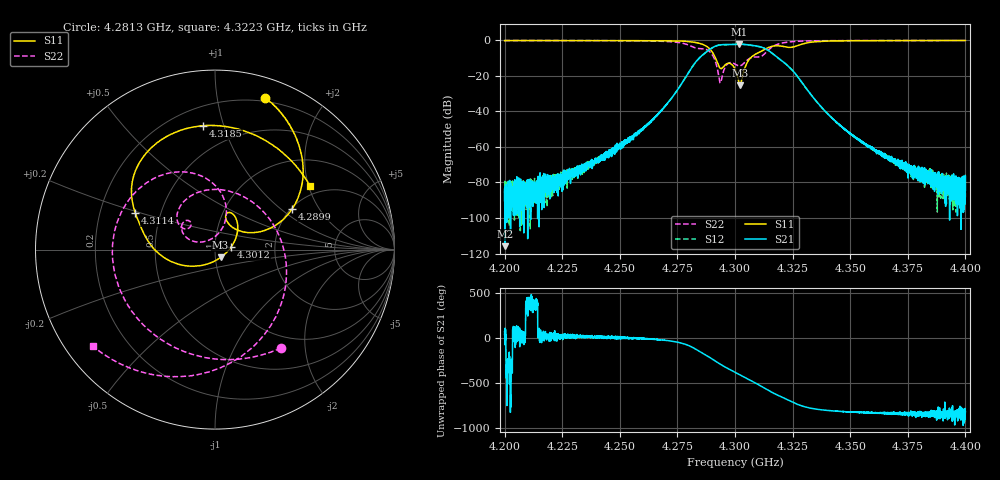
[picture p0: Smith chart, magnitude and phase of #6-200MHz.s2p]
#  HZ  S  DB  R  50.00
! Rohde & Schwarz ZVA67 4Ports - Version 3.30 - 1305.7002k04 SN: 101038
! Date: 2022-07-22 05:34:10
! Measurements: S11 S21 S12 S22
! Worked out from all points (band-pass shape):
!   6246 points, 4.2 GHz to 4.4 GHz, reference 50 ohm
!   highest |S21| = -2.28 dB at 4.3019 GHz (marker M1); lowest = -115.9 dB at 4.2001 GHz (marker M2)
!   |S21| within 3 dB of the highest: 4.289 GHz to 4.3138 GHz (24.78 MHz wide, 0.576 % of centre)
!   lowest |S11| = -25.4 dB at 4.3022 GHz (marker M3), VSWR 1.11, Z = 53 - j4.64 ohm
!   |S11| at or under -10 dB: 4.291521 GHz to 4.306762 GHz (15.24 MHz wide, 0.355 % of centre)
!   |S22| runs from -24.2 to -0.2 dB; largest |S21 - S12| = 0.022
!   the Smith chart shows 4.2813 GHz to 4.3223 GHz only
!   S11 on the Smith chart (normalised r, x): 4.2813 GHz: 0.17, +1.37; 4.2899 GHz: 2.03, +1.22; 4.3012 GHz: 1.19, +0.03; 4.3114 GHz: 0.36, +0.19; 4.3185 GHz: 0.32, +0.86; 4.3223 GHz: 1.71, +2.04
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4.2e9  -0.29 125.5  -90.46 74.2  -86.25 48.0  -0.24 121.6
4.200128e9  -0.28 125.5  -115.86 -71.9  -84.06 -2.7  -0.24 121.5
4.233339e9  -0.30 117.4  -72.58 11.7  -70.64 27.7  -0.28 109.7
4.266677e9  -0.39 98.9  -41.29 -14.9  -41.43 -13.3  -0.61 71.2
4.277278e9  -0.58 83.1  -23.56 -57.1  -23.62 -55.6  -1.77 11.9
4.281313e9  -1.00 71.8  -15.27 -97.4  -15.34 -96.1  -3.62 -56.1
4.285412e9  -2.16 55.3  -8.94 -158.0  -9.02 -156.5  -4.84 -168.6
4.289896e9  -6.23 27.9  -4.51 133.3  -4.58 134.8  -7.77 99.0
4.293643e9  -15.89 46.2  -2.65 71.6  -2.73 73.1  -24.19 115.3
4.300016e9  -16.34 36.0  -2.36 -17.7  -2.41 -16.3  -13.49 131.6
4.301201e9  -20.95 7.9  -2.30 -33.5  -2.37 -32.1  -14.36 134.1
4.301938e9  -24.87 -33.3  -2.28 -43.5  -2.36 -42.1  -14.57 138.5
4.302194e9  -25.42 -54.5  -2.29 -47.0  -2.36 -45.6  -14.52 140.1
4.306389e9  -10.54 -173.1  -2.77 -103.7  -2.84 -102.3  -10.26 130.1
4.311417e9  -6.23 155.5  -3.93 -173.7  -3.99 -172.3  -9.10 26.4
4.314139e9  -4.39 139.4  -5.56 145.3  -5.62 146.7  -6.01 -46.7
4.318527e9  -3.19 95.3  -9.83 87.2  -9.88 88.6  -2.32 -113.3
4.322306e9  -3.91 33.8  -13.69 42.1  -13.77 43.6  -1.24 -141.5
4.327558e9  -2.91 -79.2  -21.17 -18.7  -21.25 -17.3  -0.65 -163.6
4.333355e9  -1.13 -142.3  -31.29 -59.5  -31.33 -57.8  -0.43 -178.0
4.366693e9  -0.26 153.8  -65.59 -116.1  -66.61 -109.4  -0.25 151.8
4.4e9  -0.22 140.9  -84.29 -93.8  -88.37 -143.7  -0.22 141.2
